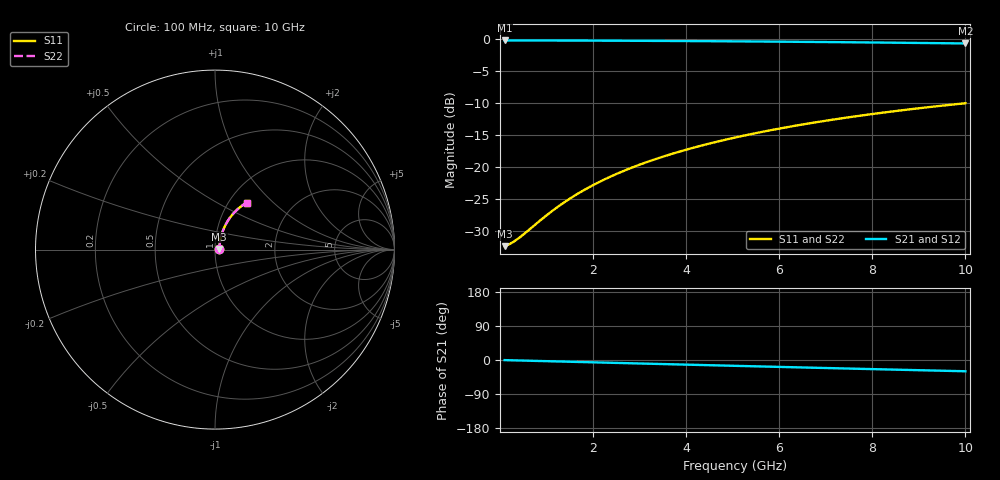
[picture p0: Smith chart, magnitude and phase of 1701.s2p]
# Hz S RI R 50.00
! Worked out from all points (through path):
!   100 points, 100 MHz to 10 GHz, reference 50 ohm
!   highest |S21| = -0.21 dB at 100 MHz (marker M1); lowest = -0.7 dB at 10 GHz (marker M2)
!   group delay of S21, straight-line fit = 8.27 ps
!   lowest |S11| = -32.3 dB at 100 MHz (marker M3), VSWR 1.05, Z = 52.5 + j0.345 ohm
!   |S11| at or under -10 dB: start of sweep to end of sweep
!   |S22| runs from -32.3 to -10.0 dB; largest |S21 - S12| = 0
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1e8  0.024 0.00329  0.976 -0.00524  0.976 -0.00524  0.024 0.00329
2e8  0.0242 0.00657  0.9758 -0.0105  0.9758 -0.0105  0.0242 0.00657
3e8  0.0244 0.00985  0.9756 -0.0157  0.9756 -0.0157  0.0244 0.00985
4e8  0.0246 0.0131  0.9754 -0.0209  0.9754 -0.0209  0.0246 0.0131
9e8  0.026 0.0295  0.9738 -0.047  0.9738 -0.047  0.026 0.0295
1.2e9  0.0273 0.0392  0.9724 -0.0627  0.9724 -0.0627  0.0273 0.0392
1.5e9  0.0288 0.0489  0.9707 -0.0782  0.9707 -0.0782  0.0288 0.0489
1.8e9  0.0306 0.0586  0.9687 -0.0937  0.9687 -0.0937  0.0306 0.0586
2.1e9  0.0328 0.0681  0.9663 -0.1091  0.9663 -0.1091  0.0328 0.0681
2.5e9  0.0361 0.0807  0.9627 -0.1296  0.9627 -0.1296  0.0361 0.0807
2.9e9  0.0399 0.0932  0.9584 -0.1498  0.9584 -0.1498  0.0399 0.0932
3.4e9  0.0454 0.1084  0.9523 -0.1749  0.9523 -0.1749  0.0454 0.1084
3.8e9  0.0503 0.1203  0.9468 -0.1947  0.9468 -0.1947  0.0503 0.1203
4.2e9  0.0557 0.132  0.9408 -0.2142  0.9408 -0.2142  0.0557 0.132
4.6e9  0.0616 0.1434  0.9342 -0.2334  0.9342 -0.2334  0.0616 0.1434
5.1e9  0.0696 0.1572  0.9252 -0.2571  0.9252 -0.2571  0.0696 0.1572
5.9e9  0.0838 0.1783  0.9094 -0.2939  0.9094 -0.2939  0.0838 0.1783
6.7e9  0.0995 0.1979  0.8917 -0.3292  0.8917 -0.3292  0.0995 0.1979
7.5e9  0.1165 0.216  0.8723 -0.3631  0.8723 -0.3631  0.1165 0.216
8.4e9  0.1372 0.2343  0.8489 -0.3993  0.8489 -0.3993  0.1372 0.2343
9.2e9  0.1566 0.2488  0.8266 -0.4297  0.8266 -0.4297  0.1566 0.2488
1e10  0.1768 0.2616  0.8033 -0.4584  0.8033 -0.4584  0.1768 0.2616
